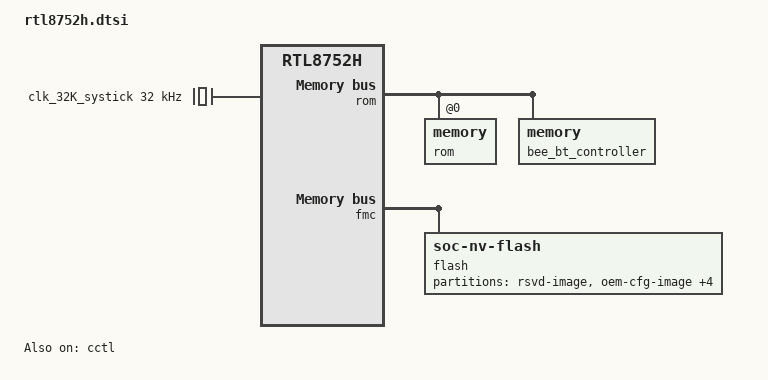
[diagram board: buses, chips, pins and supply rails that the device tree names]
/*
 * Copyright (c) 2026, Realtek Semiconductor Corporation
 *
 * SPDX-License-Identifier: Apache-2.0
 */

#include <mem.h>
#include <arm/armv6-m.dtsi>
#include <freq.h>
#include <dt-bindings/pinctrl/rtl8752h-pinctrl.h>
#include <dt-bindings/clock/rtl8752h-clocks.h>
#include <zephyr/dt-bindings/gpio/gpio.h>

/ {
	chosen {
		zephyr,flash = &flash;
		zephyr,flash-controller = &fmc;
		zephyr,sram = &data_ram_app_0;
	};

	cpus {
		#address-cells = <1>;
		#size-cells = <0>;

		cpu: cpu@0 {
			device_type = "cpu";
			compatible = "arm,cortex-m0+";
			reg = <0>;
			#address-cells = <1>;
			#size-cells = <1>;
			clock-frequency = <40000000>;
		};
	};

	rom {
		#address-cells = <1>;
		#size-cells = <1>;

		rom: memory@0 {
			/* rom code region */
			reg = <0x0 DT_SIZE_K(148)>;
		};

		bee_bt_controller: memory@25000 {
			/* bt controller code region */
			reg = <0x25000 DT_SIZE_K(196)>;
		};
	};

	bee_bt_hci: bee_bt_hci {
		compatible = "realtek,bee-bt-hci";
		status = "disabled";
	};

	soc {
		cctl: clock-controller@40000200 {
			compatible = "realtek,bee-cctl";
			reg = <0x40000200 0x400>;
			#clock-cells = <1>;
			status = "okay";
		};

		data_ram@200000 {
			#address-cells = <1>;
			#size-cells = <1>;
			reg = <0x200000 DT_SIZE_K(104)>;

			data_ram_rsvd_0: memory@200000 {
				/* reserved memory for internal usage(e.g. bt stack) */
				compatible = "mmio-sram";
				reg = <0x200000 DT_SIZE_K(34)>;
			};

			data_ram_app_0: memory@208800 {
				compatible = "mmio-sram";
				reg = <0x208800 DT_SIZE_K(57)>;
			};

			data_ram_heap: memory@216c00 {
				compatible = "mmio-sram";
				reg = <0x216c00 DT_SIZE_K(13)>;
			};
		};

		buffer_ram@280000 {
			#address-cells = <1>;
			#size-cells = <1>;
			reg = <0x280000 DT_SIZE_K(16)>;

			buffer_ram_rsvd0: memory@280000 {
				/* reserved memory for internal usage(e.g. bt stack) */
				compatible = "mmio-sram";
				reg = <0x280000 (DT_SIZE_K(1) + 512)>;
			};

			buffer_ram_heap: memory@280600 {
				compatible = "mmio-sram";
				reg = <0x280600 (DT_SIZE_K(14) + 512)>;
			};
		};

		cache@21a000 {
			#address-cells = <1>;
			#size-cells = <1>;
			reg = <0x21a000 DT_SIZE_K(8)>;
		};

		fmc: flash-controller@40080000 {
			compatible = "realtek,rtl8752h-flash-controller";
			reg = <0x40080000 0x12c>;
			#address-cells = <1>;
			#size-cells = <1>;
			status = "okay";

			flash: flash@800000 {
				compatible = "soc-nv-flash";
				write-block-size = <1>;
				erase-block-size = <4096>;
				#address-cells = <1>;
				#size-cells = <1>;

				partitions {
					compatible = "fixed-partitions";
					#address-cells = <1>;
					#size-cells = <1>;

					rsvd_partition: partition@0 {
						label = "rsvd-image";
						reg = <0x0 DT_SIZE_K(4)>;
					};

					oem_cfg_partition: partition@1000 {
						label = "oem-cfg-image";
						reg = <0x1000 DT_SIZE_K(4)>;
					};

					ota_header_partition: partition@2000 {
						label = "ota-header-image";
						reg = <0x2000 DT_SIZE_K(4)>;
					};

					rom_patch_partition: partition@3000 {
						label = "rom-patch-image";
						reg = <0x3000 DT_SIZE_K(28)>;
					};

					fsbl_partition: partition@a000 {
						label = "fsbl-image";
						reg = <0xa000 DT_SIZE_K(4)>;
					};

					bt_stack_patch_partition: partition@b000 {
						label = "bt-stack-patch-image";
						reg = <0xb000 DT_SIZE_K(40)>;
					};
				};
			};
		};

		pinctrl: pin-controller@40000280 {
			compatible = "realtek,bee-pinctrl";
			reg = <0x40000280 0x864>;
		};

		gpioa: gpio@40001000 {
			compatible = "realtek,bee-gpio";
			gpio-controller;
			#gpio-cells = <2>;
			reg = <0x40001000 0x64>;
			clocks = <&cctl APB_CLK(GPIO)>;
			interrupts = <30 0>, <29 0>, <27 0>, <26 0>;
			status = "disabled";
		};

		uart0: serial@40011000 {
			compatible = "realtek,bee-uart";
			reg = <0x40011000 0x60>;
			clocks = <&cctl APB_CLK(UART0)>;
			interrupts = <11 0>;
			status = "disabled";
		};

		/* uart1 is reserved for realtek bee internal log system. */
		uart1: serial@40012000 {
			compatible = "realtek,bee-uart";
			reg = <0x40012000 0x60>;
			clocks = <&cctl APB_CLK(UART1)>;
			interrupts = <12 0>;
			status = "disabled";
		};

		uart2: serial@40012400 {
			compatible = "realtek,bee-uart";
			reg = <0x40012400 0x60>;
			clocks = <&cctl APB_CLK(UART2)>;
			interrupts = <31 0>;
			status = "disabled";
		};

		/* basic timers */
		timer2: timer@40002028 {
			compatible = "realtek,bee-timer", "realtek,bee-basic-timer";
			reg = <0x40002028 0x10>;
			clocks = <&cctl APB_CLK(TIMER)>;
			interrupts = <4 0>;
			status = "disabled";

			counter {
				compatible = "realtek,bee-counter-timer";
				status = "disabled";
			};
		};

		timer3: timer@4000203c {
			compatible = "realtek,bee-timer", "realtek,bee-basic-timer";
			reg = <0x4000203c 0x10>;
			clocks = <&cctl APB_CLK(TIMER)>;
			interrupts = <3 0>;
			status = "disabled";

			counter {
				compatible = "realtek,bee-counter-timer";
				status = "disabled";
			};
		};

		timer4: timer@40002050 {
			compatible = "realtek,bee-timer", "realtek,bee-basic-timer";
			reg = <0x40002050 0x10>;
			clocks = <&cctl APB_CLK(TIMER)>;
			interrupts = <8 0>;
			status = "disabled";

			counter {
				compatible = "realtek,bee-counter-timer";
				status = "disabled";
			};
		};

		timer5: timer@40002064 {
			compatible = "realtek,bee-timer", "realtek,bee-basic-timer";
			reg = <0x40002064 0x10>;
			clocks = <&cctl APB_CLK(TIMER)>;
			interrupts = <8 0>;
			status = "disabled";

			counter {
				compatible = "realtek,bee-counter-timer";
				status = "disabled";
			};
		};

		/* enhanced timers */
		timer6: timer@40003000 {
			compatible = "realtek,bee-timer", "realtek,bee-enhanced-timer";
			reg = <0x40003000 0x400>;
			clocks = <&cctl APB_CLK(ENHTIMER)>;
			interrupts = <24 0>;
			status = "disabled";

			counter {
				compatible = "realtek,bee-counter-timer";
				status = "disabled";
			};
		};

		timer7: timer@40003024 {
			compatible = "realtek,bee-timer", "realtek,bee-enhanced-timer";
			reg = <0x40003024 0x400>;
			clocks = <&cctl APB_CLK(ENHTIMER)>;
			interrupts = <25 0>;
			status = "disabled";

			counter {
				compatible = "realtek,bee-counter-timer";
				status = "disabled";
			};
		};
	};

	clocks {
		clk_32K_systick: clk-32K-systick {
			#clock-cells = <0>;
			compatible = "fixed-clock";
			clock-frequency = <DT_FREQ_K(32)>;
			status = "okay";
		};
	};
};

&nvic {
	arm,num-irq-priority-bits = <3>;
};

&systick {
	external-clock-source;
};
